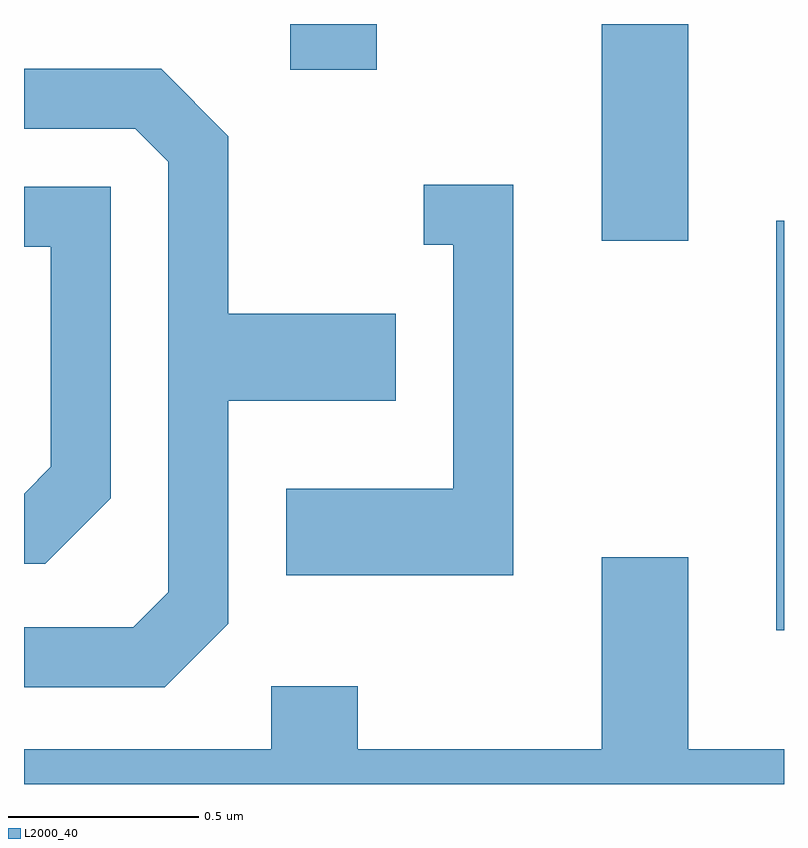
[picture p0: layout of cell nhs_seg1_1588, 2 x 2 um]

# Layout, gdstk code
import gdstk
lib = gdstk.Library(unit=1e-6, precision=1e-09)
def R(c, l, rs):  # rectangles x0, y0, x1, y1
    for r in rs: c.add(gdstk.rectangle(r[:2], r[2:], *l))
def P(c, l, *ps):  # polygons
    for p in ps: c.add(gdstk.Polygon(p, *l))
L2000_40 = (2000, 40)

nhs_seg1_1588 = lib.new_cell('nhs_seg1_1588')
R(nhs_seg1_1588, L2000_40, [(198.591,940.116,198.611,941.194), (198.131,941.141,198.359,941.712), (197.311,941.591,197.539,941.712)])
P(nhs_seg1_1588, L2000_40, [(197.149,940.134),(197.149,940.721),(197.589,940.721),(197.589,940.949),(197.149,940.949),(197.149,941.417),(196.972,941.594),(196.611,941.594),(196.611,941.436),(196.904,941.436),(196.991,941.349),(196.991,940.217),(196.899,940.124),(196.611,940.124),(196.611,939.966),(196.982,939.966)],
  [(197.899,941.289),(197.663,941.289),(197.663,941.131),(197.741,941.131),(197.741,940.489),(197.301,940.489),(197.301,940.261),(197.899,940.261)],
  [(196.839,940.464),(196.839,941.284),(196.611,941.284),(196.611,941.126),(196.681,941.126),(196.681,940.547),(196.611,940.476),(196.611,940.291),(196.667,940.291)],
  [(198.611,939.804),(198.359,939.804),(198.359,940.309),(198.131,940.309),(198.131,939.804),(197.489,939.804),(197.489,939.969),(197.261,939.969),(197.261,939.804),(196.611,939.804),(196.611,939.712),(198.611,939.712)])

lib.write_gds('nhs_seg1_1588.gds')
